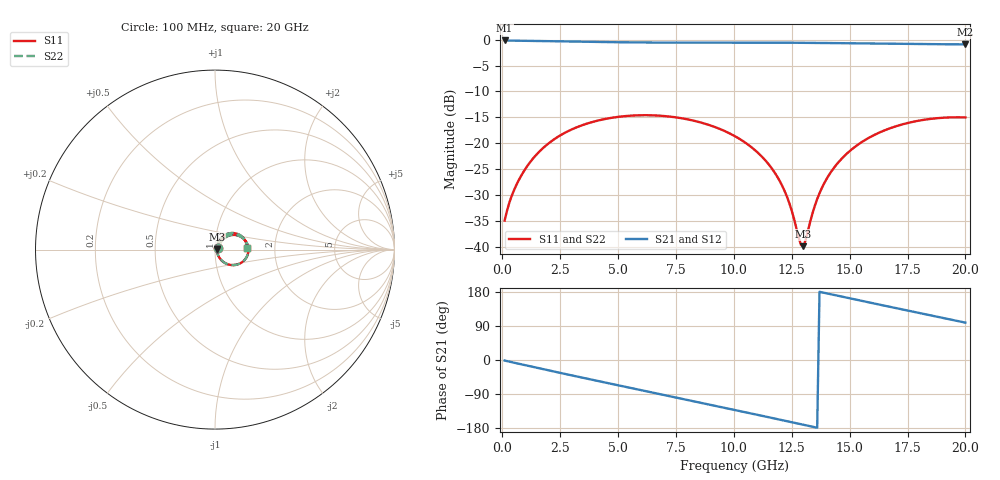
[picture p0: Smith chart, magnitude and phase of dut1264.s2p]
! Touchstone file exported from HFSS 2026.1.0
!  File:  C:/ffzhzh/LocalFiles/Ansys_Project_Files/temp_train_TSV_RDL_1264_1783327594_38820.aedt
!  Generated:  04:57:58 PM Jul  6, 2026
!  Design:  TSV_RDL
!  Project:  temp_train_TSV_RDL_1264_1783327594_38820
! Variables:
!  h_bsmrdl = 4.65um
!  h_ox = 20um
!  h_rdl = 5um
!  h_sub = 94.95um
!  h_tmrdl = 5.13um
!  h_tsv = 94.95um
!  h_via = 3um
!  l_bsmrdl = 301.6um
!  l_sub = 4218.07um
!  l_tmrdl = 702.69um
!  m_sub = 200um
!  pitch = 28.4um
!  r_tsv = 9.07um
!  s_tmrdl = 10um
!  w_bsmrdl = 14.54um
!  w_sub = 500um
!  w_tmrdl = 19.63um
!  x_tsv_center1 = 712.505um
!  x_tsv_center2 = 1028.645um
!  x_tsv_center3 = 1750.965um
!  x_tsv_center4 = 2067.105um
!  x_tsv_center5 = 2789.425um
!  x_tsv_center6 = 3105.565um
# GHz S MA R 50.000000
! Terminal data exported
! Port[1] = TM_RDL1_1_T1
! Port[2] = TM_RDL5_1_T1
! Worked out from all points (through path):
!   200 points, 100 MHz to 20 GHz, reference 50 ohm
!   highest |S21| = -0.14 dB at 100 MHz (marker M1); lowest = -0.9 dB at 20 GHz (marker M2)
!   group delay of S21, straight-line fit = 36.2 ps
!   lowest |S11| = -39.9 dB at 13 GHz (marker M3), VSWR 1.02, Z = 51 + j0.187 ohm
!   |S11| at or under -10 dB: start of sweep to end of sweep
!   |S22| runs from -39.8 to -14.6 dB; largest |S21 - S12| = 1.7e-14
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0.1  0.01793 21.5  0.9835 -1.5  0.9835 -1.5  0.01793 21.5
! Gamma 0 0 0 0
! Port Impedance 50 0 50 0
0.3  0.02651 39.8  0.9808 -4.3  0.9808 -4.3  0.02651 39.8
0.6  0.03921 48.9  0.9782 -8.4  0.9782 -8.4  0.03921 48.9
1.3  0.07005 52.4  0.9739 -17.9  0.9739 -17.9  0.07005 52.4
2.3  0.1116 44.6  0.966 -31.3  0.966 -31.3  0.1116 44.6
3.5  0.1507 31.2  0.9557 -47.2  0.9557 -47.2  0.1507 31.2
5.2  0.1819 10.9  0.944 -69.2  0.944 -69.2  0.1819 10.9
6.8  0.1846 -8.2  0.9384 -89.8  0.9384 -89.8  0.1846 -8.2
8.4  0.1625 -27.2  0.9372 -110.4  0.9372 -110.4  0.1625 -27.2
10.1  0.1152 -46.8  0.9377 -132.6  0.9377 -132.6  0.1152 -46.7
11.1  0.07865 -57.0  0.9374 -145.7  0.9374 -145.7  0.07861 -56.9
11.8  0.05063 -61.7  0.9365 -155.0  0.9365 -155.0  0.05059 -61.6
12.3  0.03023 -60.0  0.9355 -161.6  0.9355 -161.6  0.03021 -59.8
12.9  0.01041 -12.4  0.9336 -169.5  0.9336 -169.5  0.01047 -12.0
13  0.01015 10.4  0.9333 -170.8  0.9333 -170.8  0.01023 10.7
13.4  0.02117 58.5  0.9317 -176.1  0.9317 -176.1  0.02127 58.4
13.9  0.04096 66.3  0.9294 177.3  0.9294 177.3  0.04105 66.2
14.6  0.06878 63.4  0.9257 168.1  0.9257 168.1  0.06886 63.3
15.5  0.1018 54.9  0.9204 156.4  0.9204 156.4  0.1019 54.9
16.7  0.1384 41.7  0.9134 140.8  0.9134 140.8  0.1385 41.7
18.4  0.1709 22.1  0.9054 119.0  0.9054 119.0  0.171 22.1
20  0.1775 3.4  0.9018 98.6  0.9018 98.6  0.1776 3.5
